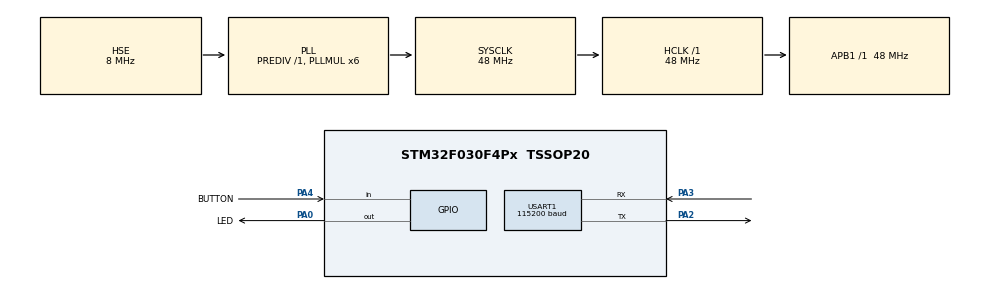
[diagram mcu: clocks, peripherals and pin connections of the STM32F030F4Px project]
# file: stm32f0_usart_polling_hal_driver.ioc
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Mcu.Family=STM32F0
Mcu.Name=STM32F030F4Px
Mcu.Package=TSSOP20
PA0.GPIO_Label=LED
PA0.Signal=GPIO_Output
PA13.Mode=Serial_Wire
PA13.Signal=SYS_SWDIO
PA14.Mode=Serial_Wire
PA14.Signal=SYS_SWCLK
PA2.Mode=Asynchronous
PA2.Signal=USART1_TX
PA3.Mode=Asynchronous
PA3.Signal=USART1_RX
PA4.GPIO_Label=BUTTON
PA4.GPIO_PuPd=GPIO_PULLUP
PA4.Signal=GPIO_Input
PF0-OSC_IN.Mode=HSE-External-Oscillator
PF0-OSC_IN.Signal=RCC_OSC_IN
PF1-OSC_OUT.Mode=HSE-External-Oscillator
PF1-OSC_OUT.Signal=RCC_OSC_OUT
ProjectManager.HeapSize=0x200
ProjectManager.StackSize=0x400
ProjectManager.TargetToolchain=STM32CubeIDE
RCC.AHBFreq_Value=48000000
RCC.APB1Freq_Value=48000000
RCC.APB1TimFreq_Value=48000000
RCC.HCLKFreq_Value=48000000
RCC.PLLMUL=RCC_PLL_MUL6
RCC.PLLSourceVirtual=RCC_PLLSOURCE_HSE
RCC.SYSCLKFreq_VALUE=48000000
RCC.SYSCLKSource=RCC_SYSCLKSOURCE_PLLCLK
USART1.BaudRate=115200
USART1.VirtualMode-Asynchronous=VM_ASYNC
board=custom

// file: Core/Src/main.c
/* USER CODE BEGIN Header */
/**
  ******************************************************************************
  * @file           : main.c
  * @brief          : Main program body
  ******************************************************************************
  * @attention
  *
  * Copyright (c) 2025 STMicroelectronics.
  * All rights reserved.
  *
  * This software is licensed under terms that can be found in the LICENSE file
  * in the root directory of this software component.
  * If no LICENSE file comes with this software, it is provided AS-IS.
  *
  ******************************************************************************
  */
/* USER CODE END Header */
#include "main.h"

/* USER CODE BEGIN Includes */
#include "stdio.h"
/* USER CODE END Includes */

UART_HandleTypeDef huart1;

void SystemClock_Config(void);
static void MX_GPIO_Init(void);
static void MX_USART1_UART_Init(void);

/* USER CODE BEGIN 0 */

uint8_t message[] = "Hello world from STM32F0!\n";

uint8_t rdata = 0;
uint8_t tData[15] = {0};

uint8_t button_counter = 0;

/* USER CODE END 0 */

int main(void)
{

  /* MCU Configuration--------------------------------------------------------*/

  /* Reset of all peripherals, Initializes the Flash interface and the Systick. */
  HAL_Init();

  /* Configure the system clock */
  SystemClock_Config();

  /* Initialize all configured peripherals */
  MX_GPIO_Init();
  MX_USART1_UART_Init();
  /* USER CODE BEGIN 2 */

  /* send message in polling method */

  /* size : sizeof(message) - 1 (does not send null char) */
  /* maximum polling time : 100ms */

  HAL_UART_Transmit(&huart1, message, sizeof(message) - 1, 100);

  /* USER CODE END 2 */

  /* Infinite loop */
  /* USER CODE BEGIN WHILE */
  while (1)
  {
	  /* receive data in polling metod */

	  /* store in rdata variable (length : 1 byte) */
	  /* maximum polling time : 100ms */

	  HAL_UART_Receive(&huart1, &rdata, 1, 100);

	  /* feedback received data */
	  if (rdata == '0')
	  {
		  HAL_GPIO_WritePin(LED_GPIO_Port, LED_Pin, GPIO_PIN_RESET);

		  /* make tData */
		  sprintf((char*) tData, "LED Off.\n");

		  /* send data */
		  HAL_UART_Transmit(&huart1, tData, 9, 100);

		  rdata = 0;
	  }
	  else if (rdata == '1')
	  {
		  HAL_GPIO_WritePin(LED_GPIO_Port, LED_Pin, GPIO_PIN_SET);

		  /* make tData */
		  sprintf(tData, "LED On.\n");

		  /* send data */
		  HAL_UART_Transmit(&huart1, tData, 8, 100);

		  rdata = 0;
	  }

	  /* send data if button pressed */
	  if(HAL_GPIO_ReadPin(BUTTON_GPIO_Port, BUTTON_Pin) == GPIO_PIN_RESET)
	  {
		  /* increase counter */
		  button_counter++;

		  /* make tData */
		  sprintf((char*) tData, "pressed : %d\n", button_counter);

		  /* send data */
		  HAL_UART_Transmit(&huart1, tData, 13, 100);

		  /* for button bounce */
		  HAL_Delay(200);
	  }

    /* USER CODE END WHILE */

  }
}

void SystemClock_Config(void)
{
  RCC_OscInitTypeDef RCC_OscInitStruct = {0};
  RCC_ClkInitTypeDef RCC_ClkInitStruct = {0};
  RCC_PeriphCLKInitTypeDef PeriphClkInit = {0};

  /** Initializes the RCC Oscillators according to the specified parameters
  * in the RCC_OscInitTypeDef structure.
  */
  RCC_OscInitStruct.OscillatorType = RCC_OSCILLATORTYPE_HSE;
  RCC_OscInitStruct.HSEState = RCC_HSE_ON;
  RCC_OscInitStruct.PLL.PLLState = RCC_PLL_ON;
  RCC_OscInitStruct.PLL.PLLSource = RCC_PLLSOURCE_HSE;
  RCC_OscInitStruct.PLL.PLLMUL = RCC_PLL_MUL6;
  RCC_OscInitStruct.PLL.PREDIV = RCC_PREDIV_DIV1;
  if (HAL_RCC_OscConfig(&RCC_OscInitStruct) != HAL_OK)
  {
    Error_Handler();
  }

  /** Initializes the CPU, AHB and APB buses clocks
  */
  RCC_ClkInitStruct.ClockType = RCC_CLOCKTYPE_HCLK|RCC_CLOCKTYPE_SYSCLK
                              |RCC_CLOCKTYPE_PCLK1;
  RCC_ClkInitStruct.SYSCLKSource = RCC_SYSCLKSOURCE_PLLCLK;
  RCC_ClkInitStruct.AHBCLKDivider = RCC_SYSCLK_DIV1;
  RCC_ClkInitStruct.APB1CLKDivider = RCC_HCLK_DIV1;

  if (HAL_RCC_ClockConfig(&RCC_ClkInitStruct, FLASH_LATENCY_1) != HAL_OK)
  {
    Error_Handler();
  }
  PeriphClkInit.PeriphClockSelection = RCC_PERIPHCLK_USART1;
  PeriphClkInit.Usart1ClockSelection = RCC_USART1CLKSOURCE_PCLK1;
  if (HAL_RCCEx_PeriphCLKConfig(&PeriphClkInit) != HAL_OK)
  {
    Error_Handler();
  }
}

static void MX_USART1_UART_Init(void)
{

  huart1.Instance = USART1;
  huart1.Init.BaudRate = 115200;
  huart1.Init.WordLength = UART_WORDLENGTH_8B;
  huart1.Init.StopBits = UART_STOPBITS_1;
  huart1.Init.Parity = UART_PARITY_NONE;
  huart1.Init.Mode = UART_MODE_TX_RX;
  huart1.Init.HwFlowCtl = UART_HWCONTROL_NONE;
  huart1.Init.OverSampling = UART_OVERSAMPLING_16;
  huart1.Init.OneBitSampling = UART_ONE_BIT_SAMPLE_DISABLE;
  huart1.AdvancedInit.AdvFeatureInit = UART_ADVFEATURE_NO_INIT;
  if (HAL_UART_Init(&huart1) != HAL_OK)
  {
    Error_Handler();
  }

}

static void MX_GPIO_Init(void)
{
  GPIO_InitTypeDef GPIO_InitStruct = {0};

  /* GPIO Ports Clock Enable */
  __HAL_RCC_GPIOF_CLK_ENABLE();
  __HAL_RCC_GPIOA_CLK_ENABLE();

  /*Configure GPIO pin Output Level */
  HAL_GPIO_WritePin(LED_GPIO_Port, LED_Pin, GPIO_PIN_RESET);

  /*Configure GPIO pin : LED_Pin */
  GPIO_InitStruct.Pin = LED_Pin;
  GPIO_InitStruct.Mode = GPIO_MODE_OUTPUT_PP;
  GPIO_InitStruct.Pull = GPIO_NOPULL;
  GPIO_InitStruct.Speed = GPIO_SPEED_FREQ_LOW;
  HAL_GPIO_Init(LED_GPIO_Port, &GPIO_InitStruct);

  /*Configure GPIO pin : BUTTON_Pin */
  GPIO_InitStruct.Pin = BUTTON_Pin;
  GPIO_InitStruct.Mode = GPIO_MODE_INPUT;
  GPIO_InitStruct.Pull = GPIO_PULLUP;
  HAL_GPIO_Init(BUTTON_GPIO_Port, &GPIO_InitStruct);

}

void Error_Handler(void)
{
  __disable_irq();
  while (1)
  {
  }
}
